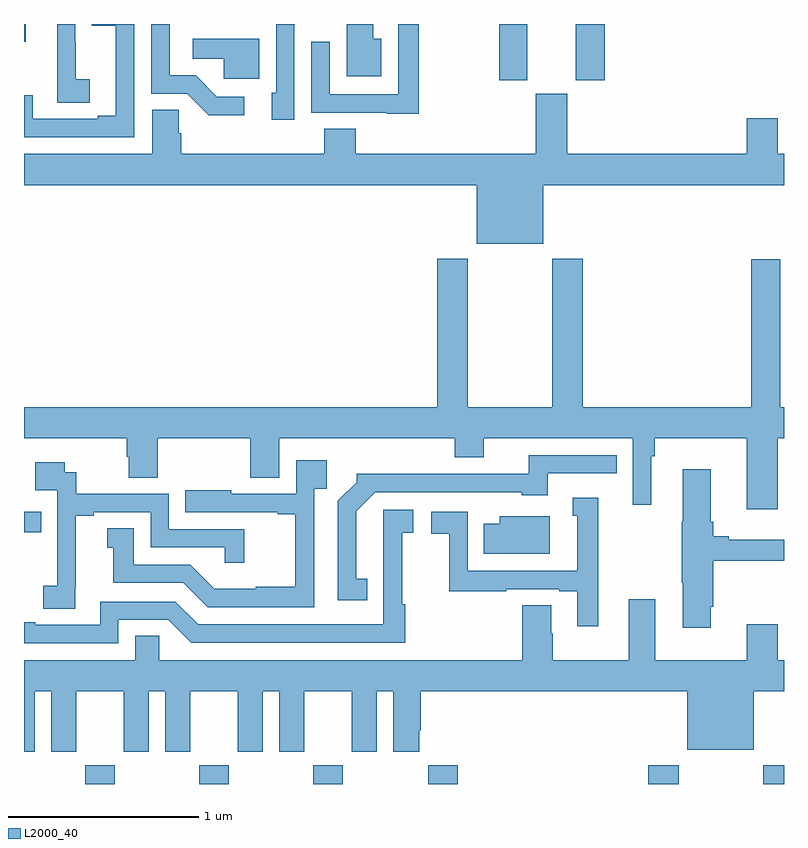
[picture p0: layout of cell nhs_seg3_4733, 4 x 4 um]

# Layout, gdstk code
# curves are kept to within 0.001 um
import gdstk
lib = gdstk.Library(unit=1e-6, precision=1e-09)
def R(c, l, rs):  # rectangles x0, y0, x1, y1
    for r in rs: c.add(gdstk.rectangle(r[:2], r[2:], *l))
def A(c, l, x, y, w, h, nx, ny, dx, dy):  # array of equal rectangles
    R(c, l, [(x+i*dx, y+j*dy, x+i*dx+w, y+j*dy+h) for i in range(nx) for j in range(ny)])
def P(c, l, *ps):  # polygons
    for p in ps: c.add(gdstk.Polygon(p, *l))
L2000_40 = (2000, 40)

nhs_seg3_4733 = lib.new_cell('nhs_seg3_4733')
A(nhs_seg3_4733, L2000_40, 365.323, 728.4, 0.155, 0.1, 3, 1, 0.6, 0)
R(nhs_seg3_4733, L2000_40, [(367.127,728.4,367.283,728.5), (368.285,728.4,368.445,728.5), (368.89,728.4,369,728.5), (365,729.726,365.09,729.834), (367.501,732.105,367.648,732.4), (367.904,732.105,368.057,732.4), (365,732.307,365.008,732.4)])
P(nhs_seg3_4733, L2000_40, [(366.16,732.018),(366.015,732.018),(365.904,732.129),(365.766,732.129),(365.766,732.4),(365.67,732.4),(365.67,732.033),(365.859,732.033),(365.972,731.921),(366.16,731.921)],
  [(366.423,732.394),(366.425,732.394),(366.425,732.4),(366.327,732.4),(366.327,732.039),(366.305,732.039),(366.305,731.895),(366.423,731.895)],
  [(365.58,732.4),(365.356,732.4),(365.356,732.39),(365.483,732.39),(365.483,731.916),(365.387,731.916),(365.387,731.901),(365.046,731.901),(365.046,732.024),(365,732.024),(365,731.805),(365.58,731.805)],
  [(365.347,732.108),(365.273,732.108),(365.273,732.305),(365.271,732.305),(365.271,732.4),(365.174,732.4),(365.174,732.097),(365.176,732.097),(365.176,731.986),(365.347,731.986)],
  [(366.88,732.322),(366.838,732.322),(366.838,732.4),(366.698,732.4),(366.698,732.125),(366.88,732.125)],
  [(367.078,732.4),(366.969,732.4),(366.969,732.03),(366.609,732.03),(366.609,732.307),(366.513,732.307),(366.513,731.934),(366.909,731.934),(366.909,731.927),(367.078,731.927)],
  [(366.238,732.322),(365.889,732.322),(365.889,732.218),(366.051,732.218),(366.051,732.111),(366.238,732.111)],
  [(367.732,731.552),(369,731.552),(369,731.716),(368.968,731.716),(368.968,731.905),(368.804,731.905),(368.804,731.716),(367.858,731.716),(367.858,732.033),(367.694,732.033),(367.694,731.716),(366.746,731.716),(366.746,731.849),(366.581,731.849),(366.581,731.716),(365.828,731.716),(365.828,731.825),(365.814,731.825),(365.814,731.948),(365.675,731.948),(365.675,731.716),(365,731.716),(365,731.552),(367.382,731.552),(367.382,731.243),(367.732,731.243)],
  [(368.968,730.22),(369,730.22),(369,730.384),(368.98,730.384),(368.98,731.163),(368.828,731.163),(368.828,730.384),(367.94,730.384),(367.94,731.164),(367.78,731.164),(367.78,730.384),(367.335,730.384),(367.335,731.164),(367.175,731.164),(367.175,730.384),(365,730.384),(365,730.22),(365.54,730.22),(365.54,730.122),(365.552,730.122),(365.552,730.012),(365.705,730.012),(365.705,730.22),(366.191,730.22),(366.191,730.012),(366.343,730.012),(366.343,730.22),(367.268,730.22),(367.268,730.121),(367.42,730.121),(367.42,730.22),(368.205,730.22),(368.205,729.87),(368.302,729.87),(368.302,730.124),(368.321,730.124),(368.321,730.22),(368.804,730.22),(368.804,729.846),(368.968,729.846)],
  [(366.806,729.479),(366.748,729.479),(366.748,729.835),(366.849,729.936),(367.62,729.936),(367.62,729.92),(367.756,729.92),(367.756,730.035),(368.12,730.035),(368.12,730.131),(367.657,730.131),(367.657,730.032),(367.184,730.032),(367.184,730.034),(366.75,730.034),(366.75,729.989),(366.651,729.89),(366.651,729.366),(366.806,729.366)],
  [(366.528,729.953),(366.593,729.953),(366.593,730.105),(366.432,730.105),(366.432,729.927),(366.091,729.927),(366.091,729.946),(365.848,729.946),(365.848,729.831),(366.335,729.831),(366.335,729.819),(366.427,729.819),(366.427,729.439),(366.221,729.439),(366.221,729.427),(366.002,729.427),(365.874,729.555),(365.578,729.555),(365.578,729.746),(365.438,729.746),(365.438,729.643),(365.471,729.643),(365.471,729.459),(365.838,729.459),(365.967,729.33),(366.528,729.33)],
  [(365.27,729.433),(365.272,729.433),(365.272,729.811),(365.368,729.811),(365.368,729.831),(365.667,729.831),(365.667,729.645),(366.057,729.645),(366.057,729.564),(366.158,729.564),(366.158,729.741),(365.763,729.741),(365.763,729.927),(365.276,729.927),(365.276,730.041),(365.214,730.041),(365.214,730.093),(365.058,730.093),(365.058,729.945),(365.175,729.945),(365.175,729.641),(365.174,729.641),(365.174,729.444),(365.1,729.444),(365.1,729.322),(365.27,729.322)],
  [(368.614,729.334),(368.627,729.334),(368.627,729.576),(369,729.576),(369,729.685),(368.71,729.685),(368.71,729.704),(368.627,729.704),(368.627,729.781),(368.614,729.781),(368.614,730.057),(368.468,730.057),(368.468,729.781),(368.461,729.781),(368.461,729.46),(368.468,729.46),(368.468,729.222),(368.614,729.222)],
  [(368.023,729.907),(367.889,729.907),(367.889,729.813),(367.913,729.813),(367.913,729.522),(367.335,729.522),(367.335,729.834),(367.143,729.834),(367.143,729.718),(367.237,729.718),(367.237,729.414),(367.538,729.414),(367.538,729.426),(367.817,729.426),(367.817,729.414),(367.913,729.414),(367.913,729.231),(368.023,729.231)],
  [(365.496,729.264),(365.76,729.264),(365.88,729.144),(367.007,729.144),(367.007,729.347),(366.99,729.347),(366.99,729.723),(367.048,729.723),(367.048,729.844),(366.89,729.844),(366.891,729.24),(365.916,729.24),(365.796,729.36),(365.4,729.36),(365.4,729.237),(365.059,729.237),(365.059,729.252),(365,729.252),(365,729.141),(365.496,729.141)],
  [(367.768,729.808),(367.505,729.808),(367.505,729.769),(367.42,729.769),(367.42,729.611),(367.768,729.611)],
  [(365.056,728.888),(365.144,728.888),(365.144,728.571),(365.275,728.571),(365.275,728.888),(365.525,728.888),(365.525,728.571),(365.656,728.571),(365.656,728.888),(365.744,728.888),(365.744,728.571),(365.875,728.571),(365.875,728.888),(366.125,728.888),(366.125,728.571),(366.256,728.571),(366.256,728.888),(366.344,728.888),(366.344,728.571),(366.475,728.571),(366.475,728.888),(366.725,728.888),(366.725,728.571),(366.856,728.571),(366.856,728.888),(366.944,728.888),(366.944,728.571),(367.081,728.571),(367.081,728.683),(367.088,728.683),(367.088,728.888),(368.492,728.888),(368.492,728.579),(368.842,728.579),(368.842,728.888),(369,728.888),(369,729.052),(368.968,729.052),(368.968,729.241),(368.804,729.241),(368.804,729.052),(368.323,729.052),(368.323,729.373),(368.183,729.373),(368.183,729.052),(367.782,729.052),(367.782,729.191),(367.774,729.191),(367.774,729.341),(367.622,729.341),(367.622,729.052),(365.712,729.052),(365.712,729.179),(365.585,729.179),(365.585,729.052),(365,729.052),(365,728.571),(365.056,728.571)])

lib.write_gds('nhs_seg3_4733.gds')
